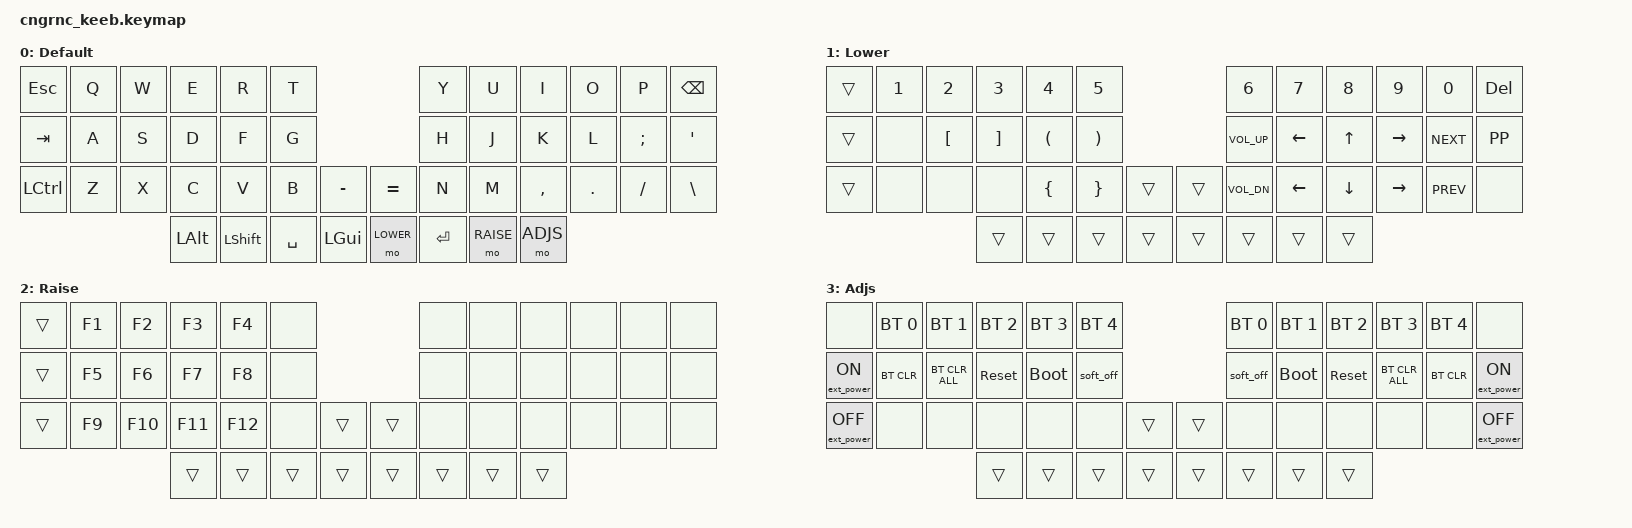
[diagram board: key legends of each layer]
/*
 * Copyright (c) 2020 The ZMK Contributors
 *
 * SPDX-License-Identifier: MIT
 */

#include <behaviors.dtsi>
#include <dt-bindings/zmk/keys.h>
#include <dt-bindings/zmk/bt.h>
#include <dt-bindings/zmk/ext_power.h>

// defines readable layer index
#define DEFAULT 0
#define LOWER   1
#define RAISE   2
#define ADJS    3

/ {
        
        chosen {
			zmk,kscan = &kscan0;
			zmk,matrix_transform = &default_transform;
		};




        keymap {
                compatible = "zmk,keymap";

                default_layer { 
// DEFAULT LAYER
// .--------------------------------------------------------------.                         .-----------------------------------------------------------.
// |   ESC        |    Q    |    W   |   E    |    R    |    T    |                         |   Y   |    U    |    I    |    O    |     P    |   BKSP   |
// |--------------+---------+--------+--------+---------+---------|                         |-------+---------+---------+---------+----------+----------|
// |   CTRL       |    A    |    S   |   D    |    F    |    G    |                         |   H   |    J    |    K    |    L    |          |          |
// |--------------+---------+--------+--------+---------+---------+---------.       .-------+-------+---------+---------+---------+----------+----------|
// |   SHFT       |    Z    |    X   |   C    |    V    |    B    |  RAISE  |       | None  |   N   |    M    |         |         |          |     NAV  |
// '---------------------------------+--------+---------+---------+---------+       |-------+-------+---------+---------+-------------------------------'
//                                   |  GUI   |   ADJS  |   LWR   |   SPC   |       |  ENT  |  None |  ADJS   |  LALT   |
//                                   '--------+---------+---------+---------'       '-------+-------+---------+---------'
                  bindings = <
        &kp ESC        &kp Q    &kp W    &kp E    &kp R     &kp T                                 &kp Y    &kp U      &kp I     &kp O     &kp P     &kp BKSP
        &kp TAB        &kp A    &kp S    &kp D    &kp F     &kp G                                 &kp H    &kp J      &kp K     &kp L     &kp SEMI  &kp SQT
        &kp LCTL       &kp Z    &kp X    &kp C    &kp V     &kp B      &kp MINUS    &kp EQUAL     &kp N    &kp M      &kp COMMA &kp DOT   &kp FSLH  &kp BSLH
                                       &kp LALT   &kp LSHFT &kp SPACE  &kp LGUI     &mo LOWER     &kp RET     &mo RAISE  &mo ADJS
                            >;

                  label = "Default";
                };


                lower_layer {
// LOWER Layer: Media and Number Pad
// .--------------------------------------------------------------.    			    .-----------------------------------------------------------.
// |              |    F5   |   F8   |   F9   |   F10   |         |    			    |  / ?  |   7 &   |   8 *   |   9 (   |   - _    |   BKSP   |
// |--------------+---------+--------+--------+---------+---------|    			    |-------+---------+---------+---------+----------+----------|
// |              |    F4   |   F5   |   F6   |   F11   |         |    		            |   *   |   4 $   |   5 %   |   6 ^   |   , <    |          |
// |--------------+---------+--------+--------+---------+---------+---------.       .-------+-------+---------+---------+---------+----------+----------|
// |              |    F1   |   F2   |   F3   |   F12   |         |         |       |       |  0 )  |   1 !   |   2 @   |   3 #   |   = +    |          |
// '---------------------------------+--------+---------+---------+---------+       |-------+-------+---------+---------+-------------------------------'
//                                   |        |         |         |         |       |       |       |         |         |
//                                   '--------+---------+---------+---------'       '-------+-------+---------+---------'

                  bindings = <
          &trans        &kp NUM_1    &kp NUM_2    &kp NUM_3   &kp NUM_4   &kp NUM_5                      &kp NUM_6     &kp NUM_7   &kp NUM_8  &kp NUM_9  &kp NUM_0   &kp DEL
          &trans        &none        &kp LBKT     &kp RBKT    &kp LPAR    &kp RPAR                       &kp C_VOL_UP  &kp LEFT    &kp UP     &kp RIGHT  &kp C_NEXT  &kp K_PP
          &trans        &none        &none        &none       &kp LBRC    &kp RBRC   &trans      &trans  &kp C_VOL_DN  &kp LEFT    &kp DOWN   &kp RIGHT  &kp C_PREV  &none
                                                  &trans      &trans      &trans     &trans      &trans  &trans        &trans      &trans
                            >;

                  label = "Lower";
                };



                raise_layer {
// RAISE Layer: Special Chars
// .--------------------------------------------------------------.    					      .---------------------------------------------------------------.
// |              |    ~    |    !   |   @    |    #    |    +    |    					      |   {     |    }    |    <     |    >     |     ,    |   BKSP   |
// |--------------+---------+--------+--------+---------+---------|    					      |---------+---------+----------+----------+----------+----------|
// |     NAVI     |    `    |    $   |   %    |    ^    |    =    |    					      |   :     |    ;    |    ?     |    /     |     .    |     \    |
// |--------------+---------+--------+--------+---------+---------+---------.                       +---------+---------+---------+----------+----------|----------------------
// |              |    -    |    &   |   *    |    (    |    )    |         |                       |   TAB   |    [    |    ]    |    "     |    '     |     _    |     |    |
// '---------------------------------+--------+---------+---------+---------+                       +---------+---------+-------------------------------'----------------------
//                                   |        |         |         |   ALT   |                       |   RET   |         |         |          |
//                                   '--------+---------+---------+---------'                       +---------+---------'---------------------

                        bindings = <
        &trans    &kp F1   &kp F2  &kp F3   &kp F4  &none                             &none  &none  &none &none &none &none
        &trans    &kp F5   &kp F6  &kp F7   &kp F8  &none                             &none  &none  &none &none &none &none
        &trans    &kp F9   &kp F10 &kp F11  &kp F12 &none   &trans        &trans   &none  &none  &none &none &none &none
                                   &trans   &trans  &trans  &trans        &trans   &trans &trans &trans
                        >;

                        label = "Raise";
                };


                adjust_layer {
// ADJUST Layer: Setting and Configurations
// .------------------------------------------------------------.    					  .-------------------------------------------------------------.
// |      0     |  BT 0   |  BT 1  |  BT 2  |  BT 3   |  BT 4   |    					  |  BT 4   |  BT_3   |  BT_2   |   BT_1  |   BT_0   |          |
// |------------+---------+--------+--------+---------+---------|    					  |---------+---------+---------+---------+----------+----------|
// | ExtPow ON  |  BT_CLR | CLRALL |   RST  |  BOOT   |  OFF    |    					  |  OFF    |  BOOT   |   RST   | CLRALL  |  BT_CLR  | ExtPow ON|
// |------------+---------+--------+--------+---------+---------+---------.       .-------+---------+---------+---------+---------+----------+----------|
// | ExtPow OFF |         |        |        |         |         |         |       |       |         |         |         |         |          |ExtPow OFF|
// '-------------------------------+--------+---------+---------+---------+       |-------+---------+---------+---------+-------------------------------'
//                                 |        |         |         |         |       |       |         |         |         |
//                                 '--------+---------+---------+---------'       '-------+---------+---------+---------'

                        bindings = <
    &none               &bt BT_SEL 0  &bt BT_SEL 1   &bt BT_SEL 2  &bt BT_SEL 3  &bt BT_SEL 4                          &bt BT_SEL 0  &bt BT_SEL 1  &bt BT_SEL 2  &bt BT_SEL 3   &bt BT_SEL 4  &none
    &ext_power EP_ON    &bt BT_CLR    &bt BT_CLR_ALL &sys_reset    &bootloader   &soft_off                             &soft_off     &bootloader   &sys_reset    &bt BT_CLR_ALL &bt BT_CLR    &ext_power EP_ON
    &ext_power EP_OFF   &none         &none          &none         &none         &none         &trans    &trans        &none         &none         &none         &none          &none         &ext_power EP_OFF
                                                     &trans        &trans        &trans        &trans    &trans        &trans        &trans        &trans
                        >;
                        label = "Adjs";
                };
        };
};
